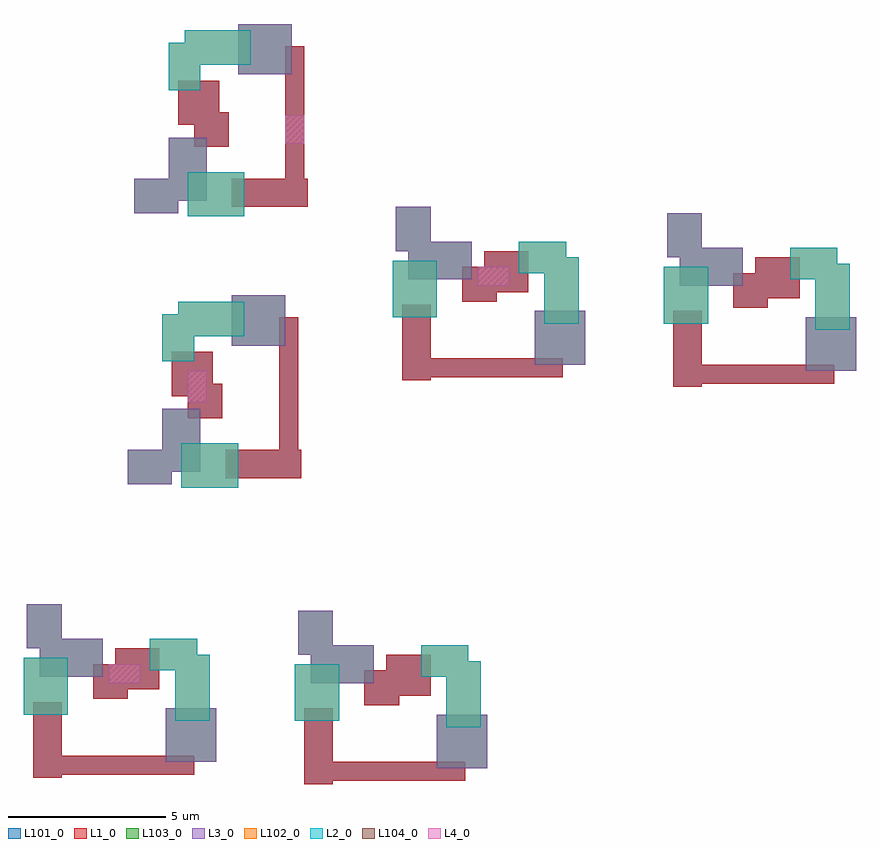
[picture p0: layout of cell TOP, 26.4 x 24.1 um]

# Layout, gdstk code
from math import pi, radians
import gdstk
lib = gdstk.Library(unit=1e-6, precision=1e-09)
def R(c, l, rs):  # rectangles x0, y0, x1, y1
    for r in rs: c.add(gdstk.rectangle(r[:2], r[2:], *l))
L1_0 = (1, 0)
L2_0 = (2, 0)
L3_0 = (3, 0)
L4_0 = (4, 0)
L101_0 = (101, 0)
L102_0 = (102, 0)
L103_0 = (103, 0)
L104_0 = (104, 0)

c_c1 = lib.new_cell('C1')
R(c_c1, L1_0, [(-2.7,-3.3,-1.8,-0.9), (-2.1,-3.2,2.4,-2.6), (-0.8,-0.8,0.3,0.3), (-0.1,-0.5,1.3,0.8)])
R(c_c1, L2_0, [(1.8,-1.5,2.9,0.6), (-3,-1.3,-1.6,0.5), (1,0.1,2.5,1.1)])
R(c_c1, L3_0, [(1.5,-2.8,3.1,-1.1), (-2.5,-0.1,-0.5,1.1), (-2.9,0.8,-1.8,2.2)])

c_c2 = lib.new_cell('C2')
R(c_c2, L4_0, [(2.7,3.1,3.7,3.7)])
R(c_c2, L101_0, [(0.3,0.1,1.2,2.5), (0.9,0.2,5.4,0.8), (10.8,2.4,11.9,3.5), (11.5,2.7,12.9,4)])
R(c_c2, L102_0, [(13.4,1.7,14.5,3.8), (0,2.1,1.4,3.9), (12.6,3.3,14.1,4.3)])
R(c_c2, L103_0, [(4.5,0.6,6.1,2.3), (9.1,3.1,11.1,4.3), (8.7,4,9.8,5.4)])
c_c2.add(gdstk.Reference(c_c1, (3,3.4)))
c_c2.add(gdstk.Reference(c_c1, (11.6,3.2)))

c_c3 = lib.new_cell('C3')
R(c_c3, L4_0, [(5,10.9,5.6,11.8)])
R(c_c3, L101_0, [(17.3,3.2,18.2,5.6), (17.9,3.3,22.4,3.9)])
R(c_c3, L102_0, [(17,5.2,18.4,7)])
R(c_c3, L103_0, [(21.5,3.7,23.1,5.4)])
c_c3.add(gdstk.Reference(c_c2, (5.6,0), rotation=pi/2))
c_c3.add(gdstk.Reference(c_c2, (8.4,3.3)))

top = lib.new_cell('TOP')
R(top, L101_0, [(9.8,0,10.7,2.4), (10.4,0.1,14.9,0.7), (3.1,2.7,4.2,3.8), (3.8,3,5.2,4.3), (6.1,11.6,7.2,12.7), (5.6,12.3,6.9,13.7), (14.8,15.3,15.9,16.4), (15.5,15.6,16.9,16.9), (7.5,18.3,9.9,19.2), (9.2,18.9,9.8,23.4)])
R(top, L102_0, [(5.7,2,6.8,4.1), (9.5,2,10.9,3.8), (4.9,3.6,6.4,4.6), (5.3,13.4,6.3,14.9), (5.8,14.2,7.9,15.3), (17.4,14.6,18.5,16.7), (16.6,16.2,18.1,17.2), (6.1,18,7.9,19.4)])
R(top, L103_0, [(14,0.5,15.6,2.2), (1.4,3.4,3.4,4.6), (1,4.3,2.1,5.7), (4.2,9.5,5.6,10.6), (5.3,9.9,6.5,11.9), (13.1,16,15.1,17.2), (12.7,16.9,13.8,18.3), (7.7,22.5,9.4,24.1)])
R(top, L104_0, [(3.6,3.2,4.6,3.8), (6.1,12.1,6.7,13.1), (15.3,15.8,16.3,16.4), (9.2,20.3,9.8,21.2)])
top.add(gdstk.Reference(c_c2, (0.9,0.1)))
top.add(gdstk.Reference(c_c3, (4.2,9.4)))

lib.write_gds('TOP.gds')
